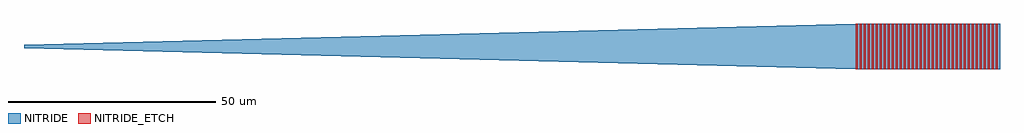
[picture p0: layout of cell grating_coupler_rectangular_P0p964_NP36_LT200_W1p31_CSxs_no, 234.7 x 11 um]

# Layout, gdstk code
import gdstk
lib = gdstk.Library(unit=1e-6, precision=1e-09)
def R(c, l, rs):  # rectangles x0, y0, x1, y1
    for r in rs: c.add(gdstk.rectangle(r[:2], r[2:], *l))
def A(c, l, x, y, w, h, nx, ny, dx, dy):  # array of equal rectangles
    R(c, l, [(x+i*dx, y+j*dy, x+i*dx+w, y+j*dy+h) for i in range(nx) for j in range(ny)])
def P(c, l, *ps):  # polygons
    for p in ps: c.add(gdstk.Polygon(p, *l))
NITRIDE = (203, 0)
NITRIDE_ETCH = (204, 0)

grating_coupler_rectangu = lib.new_cell('grating_coupler_rectangular_P0p964_NP36_LT200_W1p31_CSxs_no')
P(grating_coupler_rectangu, NITRIDE, [(200,-5.5),(0,-0.475),(0,0.475),(200,5.5),(234.704,5.5),(234.704,-5.5)])
A(grating_coupler_rectangu, NITRIDE_ETCH, 200, -5.5, 0.482, 11, 36, 1, 0.964, 0)

lib.write_gds('grating_coupler_rectangular_P0p964_NP36_LT200_W1p31_CSxs_no.gds')
